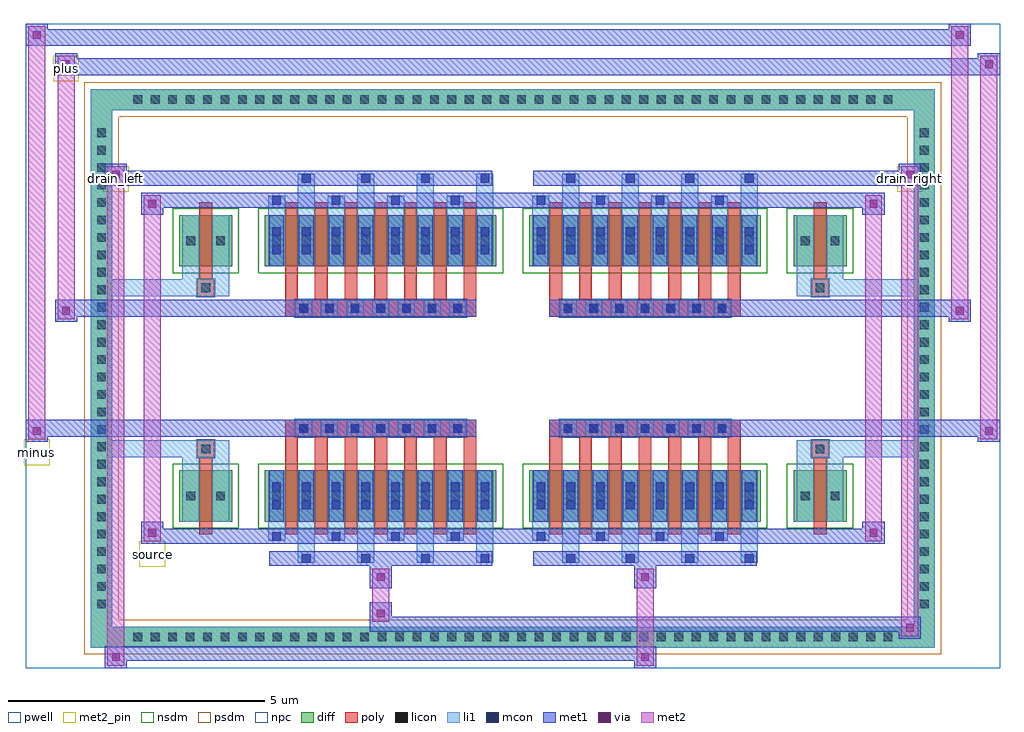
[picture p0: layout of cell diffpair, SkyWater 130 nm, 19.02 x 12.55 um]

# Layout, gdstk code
import gdstk
lib = gdstk.Library(unit=1e-6, precision=5e-09)
def R(c, l, rs):  # rectangles x0, y0, x1, y1
    for r in rs: c.add(gdstk.rectangle(r[:2], r[2:], *l))
def A(c, l, x, y, w, h, nx, ny, dx, dy):  # array of equal rectangles
    R(c, l, [(x+i*dx, y+j*dy, x+i*dx+w, y+j*dy+h) for i in range(nx) for j in range(ny)])
def P(c, l, *ps):  # polygons
    for p in ps: c.add(gdstk.Polygon(p, *l))
pwell = (64, 44)
diff = (65, 20)
poly = (66, 20)
licon = (66, 44)
li1 = (67, 20)
mcon = (67, 44)
met1 = (68, 20)
via = (68, 44)
met2_pin = (69, 16)
met2 = (69, 20)
nsdm = (93, 44)
psdm = (94, 20)
npc = (95, 20)

diffpair = lib.new_cell('diffpair')
R(diffpair, pwell, [(-9.49,-5.84,9.49,6.71), (-6.81,-4.03,-0.01,-0.805), (0.01,-4.03,6.81,-0.805), (-6.81,0.805,-0.01,4.03), (0.01,0.805,6.81,4.03)])
A(diffpair, diff, -7.515, -5.44, 0.41, 0.41, 44, 2, 0.34, 10.47)
A(diffpair, diff, -8.22, -4.795, 0.41, 0.41, 1, 28, 0, 0.34)
A(diffpair, diff, 7.81, -4.795, 0.41, 0.41, 1, 28, 0, 0.34)
R(diffpair, diff, [(-7.515,-5.44,7.515,-5.03), (-8.22,-4.795,-7.81,4.795), (7.81,-4.795,8.22,4.795), (-6.5,-2.985,-5.47,-1.985), (-4.83,-2.985,-0.32,-1.985), (0.32,-2.985,4.83,-1.985), (5.47,-2.985,6.5,-1.985), (-6.5,1.985,-5.47,2.985), (-4.83,1.985,-0.32,2.985), (0.32,1.985,4.83,2.985), (5.47,1.985,6.5,2.985), (-7.515,5.03,7.515,5.44)])
P(diffpair, diff, [(8.22,5.44),(-8.22,5.44),(-8.22,-5.03),(-7.81,-5.03),(-7.81,5.03),(7.81,5.03),(7.81,-5.03),(-7.81,-5.03),(-8.22,-5.03),(-8.22,-5.44),(8.22,-5.44)])
A(diffpair, poly, -4.44, -3.235, 0.25, 1.5, 7, 2, 0.58, 4.97)
A(diffpair, poly, 0.71, -3.235, 0.25, 1.5, 7, 2, 0.58, 4.97)
A(diffpair, poly, -4.44, -1.735, 0.25, 0.4, 7, 2, 0.58, 3.07)
A(diffpair, poly, 0.71, -1.735, 0.25, 0.4, 7, 2, 0.58, 3.07)
A(diffpair, poly, -4.24, -1.335, 0.33, 0.33, 7, 2, 0.5, 2.34)
A(diffpair, poly, 0.91, -1.335, 0.33, 0.33, 7, 2, 0.5, 2.34)
R(diffpair, poly, [(-6.11,-3.235,-5.86,-1.735), (5.86,-3.235,6.11,-1.735), (-6.15,-1.735,-5.82,-1.405), (-6.15,-1.735,-5.82,-1.405), (5.82,-1.735,6.15,-1.405), (5.82,-1.735,6.15,-1.405), (-4.44,-1.335,-0.71,-1.005), (0.71,-1.335,4.44,-1.005), (-4.44,1.005,-0.71,1.335), (0.71,1.005,4.44,1.335), (-6.15,1.405,-5.82,1.735), (-6.15,1.405,-5.82,1.735), (5.82,1.405,6.15,1.735), (5.82,1.405,6.15,1.735), (-6.11,1.735,-5.86,3.235), (5.86,1.735,6.11,3.235)])
A(diffpair, licon, -7.395, -5.32, 0.17, 0.17, 44, 2, 0.34, 10.47)
A(diffpair, licon, -8.1, -4.675, 0.17, 0.17, 1, 28, 0, 0.34)
A(diffpair, licon, 7.93, -4.675, 0.17, 0.17, 1, 28, 0, 0.34)
A(diffpair, licon, -4.69, -2.57, 0.17, 0.17, 8, 2, 0.58, 4.97)
A(diffpair, licon, 0.46, -2.57, 0.17, 0.17, 8, 2, 0.58, 4.97)
A(diffpair, licon, -4.16, -1.255, 0.17, 0.17, 7, 2, 0.5, 2.34)
A(diffpair, licon, 0.99, -1.255, 0.17, 0.17, 7, 2, 0.5, 2.34)
R(diffpair, licon, [(-6.36,-2.57,-6.19,-2.4), (-5.78,-2.57,-5.61,-2.4), (5.61,-2.57,5.78,-2.4), (6.19,-2.57,6.36,-2.4), (-6.07,-1.655,-5.9,-1.485), (5.9,-1.655,6.07,-1.485), (-6.07,1.485,-5.9,1.655), (5.9,1.485,6.07,1.655), (-6.36,2.4,-6.19,2.57), (-5.78,2.4,-5.61,2.57), (5.61,2.4,5.78,2.57), (6.19,2.4,6.36,2.57)])
A(diffpair, li1, -7.475, -5.4, 0.33, 0.33, 44, 2, 0.34, 10.47)
A(diffpair, li1, -8.18, -4.755, 0.33, 0.33, 1, 28, 0, 0.34)
A(diffpair, li1, 7.85, -4.755, 0.33, 0.33, 1, 28, 0, 0.34)
A(diffpair, li1, -4.19, -3.79, 0.33, 0.805, 4, 2, 1.16, 6.775)
A(diffpair, li1, -4.11, -3.79, 0.17, 0.17, 4, 2, 1.16, 7.41)
A(diffpair, li1, 0.96, -3.79, 0.33, 0.805, 4, 2, 1.16, 6.775)
A(diffpair, li1, 1.04, -3.79, 0.17, 0.17, 4, 2, 1.16, 7.41)
A(diffpair, li1, -4.77, -3.36, 0.33, 0.375, 4, 2, 1.16, 6.345)
A(diffpair, li1, -4.69, -3.36, 0.17, 0.17, 4, 2, 1.16, 6.55)
A(diffpair, li1, 0.38, -3.36, 0.33, 0.375, 4, 2, 1.16, 6.345)
A(diffpair, li1, 0.46, -3.36, 0.17, 0.17, 4, 2, 1.16, 6.55)
A(diffpair, li1, -4.77, -2.985, 0.33, 1, 8, 2, 0.58, 4.97)
A(diffpair, li1, 0.38, -2.985, 0.33, 1, 8, 2, 0.58, 4.97)
A(diffpair, li1, -4.69, -2.75, 0.17, 0.17, 8, 2, 0.58, 0.36)
A(diffpair, li1, -4.69, -2.75, 0.17, 0.53, 8, 2, 0.58, 4.97)
A(diffpair, li1, 0.46, -2.75, 0.17, 0.17, 8, 2, 0.58, 0.36)
A(diffpair, li1, 0.46, -2.75, 0.17, 0.53, 8, 2, 0.58, 4.97)
A(diffpair, li1, -4.77, -2.65, 0.33, 0.33, 8, 2, 0.58, 4.97)
A(diffpair, li1, 0.38, -2.65, 0.33, 0.33, 8, 2, 0.58, 4.97)
A(diffpair, li1, -4.24, -1.335, 0.33, 0.33, 7, 2, 0.5, 2.34)
A(diffpair, li1, 0.91, -1.335, 0.33, 0.33, 7, 2, 0.5, 2.34)
A(diffpair, li1, -4.69, 2.22, 0.17, 0.17, 8, 2, 0.58, 0.36)
A(diffpair, li1, 0.46, 2.22, 0.17, 0.17, 8, 2, 0.58, 0.36)
R(diffpair, li1, [(-8.22,-5.44,-7.81,-5.03), (-8.22,-5.44,-7.81,-5.03), (-7.81,-5.44,7.81,-5.03), (7.81,-5.44,8.22,-5.03), (7.81,-5.44,8.22,-5.03), (-8.22,-5.03,-7.81,5.03), (7.81,-5.03,8.22,5.03), (-6.44,-2.985,-6.11,-1.985), (-5.86,-2.985,-5.53,-1.985), (5.53,-2.985,5.86,-1.985), (6.11,-2.985,6.44,-1.985), (-6.44,-2.65,-6.11,-2.32), (-5.86,-2.65,-5.53,-2.32), (5.53,-2.65,5.86,-2.32), (6.11,-2.65,6.44,-2.32), (-6.44,-1.985,-6.11,-1.405), (-5.86,-1.985,-5.53,-1.405), (5.53,-1.985,5.86,-1.405), (6.11,-1.985,6.44,-1.405), (-8.22,-1.735,-6.15,-1.405), (-6.44,-1.735,-6.15,-1.405), (-6.15,-1.735,-5.82,-1.405), (-5.82,-1.735,-5.53,-1.405), (5.53,-1.735,5.82,-1.405), (5.82,-1.735,6.15,-1.405), (5.82,-1.735,8.22,-1.405), (6.15,-1.735,6.44,-1.405), (-8.22,1.405,-6.15,1.735), (-6.44,1.405,-6.15,1.735), (-6.44,1.405,-6.11,1.985), (-6.15,1.405,-5.82,1.735), (-5.86,1.405,-5.53,1.985), (-5.82,1.405,-5.53,1.735), (5.53,1.405,5.82,1.735), (5.53,1.405,5.86,1.985), (5.82,1.405,6.15,1.735), (5.82,1.405,8.22,1.735), (6.11,1.405,6.44,1.985), (6.15,1.405,6.44,1.735), (-6.44,1.985,-6.11,2.985), (-5.86,1.985,-5.53,2.985), (5.53,1.985,5.86,2.985), (6.11,1.985,6.44,2.985), (-6.44,2.32,-6.11,2.65), (-5.86,2.32,-5.53,2.65), (5.53,2.32,5.86,2.65), (6.11,2.32,6.44,2.65), (-8.22,5.03,-7.81,5.44), (-8.22,5.03,-7.81,5.44), (-7.81,5.03,7.81,5.44), (7.81,5.03,8.22,5.44), (7.81,5.03,8.22,5.44)])
A(diffpair, mcon, -4.11, -3.79, 0.17, 0.17, 4, 2, 1.16, 7.41)
A(diffpair, mcon, 1.04, -3.79, 0.17, 0.17, 4, 2, 1.16, 7.41)
A(diffpair, mcon, -4.69, -3.36, 0.17, 0.17, 4, 2, 1.16, 6.55)
A(diffpair, mcon, 0.46, -3.36, 0.17, 0.17, 4, 2, 1.16, 6.55)
A(diffpair, mcon, -4.69, -2.75, 0.17, 0.17, 8, 2, 0.58, 0.36)
A(diffpair, mcon, 0.46, -2.75, 0.17, 0.17, 8, 2, 0.58, 0.36)
A(diffpair, mcon, -4.16, -1.255, 0.17, 0.17, 7, 2, 0.5, 2.34)
A(diffpair, mcon, 0.99, -1.255, 0.17, 0.17, 7, 2, 0.5, 2.34)
A(diffpair, mcon, -4.69, 2.22, 0.17, 0.17, 8, 2, 0.58, 0.36)
A(diffpair, mcon, 0.46, 2.22, 0.17, 0.17, 8, 2, 0.58, 0.36)
A(diffpair, met1, -4.17, -3.85, 0.29, 0.29, 4, 2, 1.16, 7.41)
A(diffpair, met1, 0.98, -3.85, 0.29, 0.29, 4, 2, 1.16, 7.41)
A(diffpair, met1, -4.75, -3.42, 0.29, 0.29, 4, 2, 1.16, 6.55)
A(diffpair, met1, 0.4, -3.42, 0.29, 0.29, 4, 2, 1.16, 6.55)
A(diffpair, met1, -4.75, -2.985, 0.29, 1, 8, 2, 0.58, 4.97)
A(diffpair, met1, 0.4, -2.985, 0.29, 1, 8, 2, 0.58, 4.97)
A(diffpair, met1, -4.75, -2.81, 0.29, 0.29, 8, 2, 0.58, 0.36)
A(diffpair, met1, 0.4, -2.81, 0.29, 0.29, 8, 2, 0.58, 0.36)
A(diffpair, met1, -4.22, -1.315, 0.29, 0.29, 7, 2, 0.5, 2.34)
A(diffpair, met1, 0.93, -1.315, 0.29, 0.29, 7, 2, 0.5, 2.34)
A(diffpair, met1, -4.75, 2.16, 0.29, 0.29, 8, 2, 0.58, 0.36)
A(diffpair, met1, 0.4, 2.16, 0.29, 0.29, 8, 2, 0.58, 0.36)
R(diffpair, met1, [(-7.95,-5.84,-7.52,-5.41), (2.36,-5.84,2.79,-5.41), (-7.95,-5.7,2.79,-5.41), (7.52,-5.27,7.95,-4.84), (-2.79,-5.13,7.95,-4.84), (-2.79,-4.99,-2.36,-4.56), (-2.79,-4.28,-2.36,-3.85), (2.36,-4.28,2.79,-3.85), (-4.75,-3.85,-0.4,-3.56), (0.4,-3.85,4.75,-3.56), (-7.24,-3.42,-6.81,-2.99), (-7.24,-3.42,-4.75,-3.13), (-4.75,-3.42,-0.4,-3.13), (-0.4,-3.42,0.4,-3.13), (0.4,-3.42,4.75,-3.13), (4.75,-3.42,7.24,-3.13), (6.81,-3.42,7.24,-2.99), (-9.49,-1.435,-9.06,-1.005), (9.06,-1.435,9.49,-1.005), (-9.49,-1.335,-0.71,-1.005), (-4.44,-1.335,-0.71,-1.005), (0.71,-1.335,4.44,-1.005), (0.71,-1.335,9.49,-1.005), (-8.92,0.905,-8.49,1.335), (8.49,0.905,8.92,1.335), (-8.92,1.005,-4.44,1.335), (-4.44,1.005,-0.71,1.335), (0.71,1.005,4.44,1.335), (4.44,1.005,8.92,1.335), (-7.24,2.99,-6.81,3.42), (6.81,2.99,7.24,3.42), (-7.24,3.13,-4.75,3.42), (-4.75,3.13,-0.4,3.42), (-0.4,3.13,0.4,3.42), (0.4,3.13,4.75,3.42), (4.75,3.13,7.24,3.42), (-7.95,3.56,-7.52,3.99), (-7.95,3.56,-4.75,3.85), (-4.75,3.56,-0.4,3.85), (0.4,3.56,4.75,3.85), (4.75,3.56,7.95,3.85), (7.52,3.56,7.95,3.99), (-8.92,5.71,-8.49,6.14), (-8.92,5.71,-6.81,6.04), (-6.81,5.71,6.81,6.04), (6.81,5.71,9.49,6.04), (9.06,5.71,9.49,6.14), (-9.49,6.28,-9.06,6.71), (-9.49,6.28,-6.81,6.61), (-6.81,6.28,6.81,6.61), (6.81,6.28,8.92,6.61), (8.49,6.28,8.92,6.71)])
R(diffpair, via, [(-7.81,-5.7,-7.66,-5.55), (2.5,-5.7,2.65,-5.55), (7.66,-5.13,7.81,-4.98), (-2.65,-4.85,-2.5,-4.7), (-2.65,-4.14,-2.5,-3.99), (2.5,-4.14,2.65,-3.99), (-7.1,-3.28,-6.95,-3.13), (6.95,-3.28,7.1,-3.13), (-9.35,-1.295,-9.2,-1.145), (9.2,-1.295,9.35,-1.145), (-8.78,1.045,-8.63,1.195), (8.63,1.045,8.78,1.195), (-7.1,3.13,-6.95,3.28), (6.95,3.13,7.1,3.28), (-7.81,3.7,-7.66,3.85), (7.66,3.7,7.81,3.85), (-8.78,5.85,-8.63,6), (9.2,5.85,9.35,6), (-9.35,6.42,-9.2,6.57), (8.63,6.42,8.78,6.57)])
R(diffpair, met2_pin, [(-7.275,-3.87,-6.775,-3.37), (-9.525,-1.885,-9.025,-1.385), (-7.985,3.44,-7.485,3.94), (7.485,3.44,7.985,3.94), (-8.955,5.59,-8.455,6.09)])
R(diffpair, met2, [(-7.9,-5.79,-7.57,-5.46), (-7.9,-5.79,-7.57,3.94), (2.41,-5.79,2.74,-5.46), (2.41,-5.46,2.74,-4.23), (7.57,-5.22,7.9,-4.89), (7.57,-5.22,7.9,3.94), (-2.74,-4.94,-2.41,-4.61), (-2.74,-4.61,-2.41,-4.23), (-2.74,-4.23,-2.41,-3.9), (2.41,-4.23,2.74,-3.9), (-7.19,-3.37,-6.86,-3.04), (-7.19,-3.37,-6.86,3.37), (6.86,-3.37,7.19,-3.04), (6.86,-3.37,7.19,3.37), (-9.44,-1.385,-9.11,-1.055), (-9.44,-1.385,-9.11,6.66), (9.11,-1.385,9.44,-1.055), (9.11,-1.385,9.44,6.09), (-8.87,0.955,-8.54,1.285), (-8.87,0.955,-8.54,6.09), (8.54,0.955,8.87,1.285), (8.54,0.955,8.87,6.66), (-7.19,3.04,-6.86,3.37), (6.86,3.04,7.19,3.37), (-7.9,3.61,-7.57,3.94), (7.57,3.61,7.9,3.94), (-8.87,5.76,-8.54,6.09), (9.11,5.76,9.44,6.09), (-9.44,6.33,-9.11,6.66), (8.54,6.33,8.87,6.66)])
P(diffpair, met2, [(9.44,-1.385),(9.44,-1.385),(9.44,-1.055),(9.44,-1.055)],
  [(9.44,5.76),(9.44,5.76),(9.44,6.09),(9.44,6.09)],
  [(-9.11,-1.385),(-9.11,-1.385),(-9.11,-1.055),(-9.11,-1.055)],
  [(-9.11,6.33),(-9.11,6.33),(-9.11,6.66),(-9.11,6.66)],
  [(8.87,0.955),(8.87,0.955),(8.87,1.285),(8.87,1.285)],
  [(8.87,6.33),(8.87,6.33),(8.87,6.66),(8.87,6.66)],
  [(-8.54,0.955),(-8.54,0.955),(-8.54,1.285),(-8.54,1.285)],
  [(-8.54,5.76),(-8.54,5.76),(-8.54,6.09),(-8.54,6.09)],
  [(-7.57,-5.79),(-7.57,-5.79),(-7.57,-5.46),(-7.57,-5.46)],
  [(-7.57,3.61),(-7.57,3.61),(-7.57,3.94),(-7.57,3.94)],
  [(7.9,-5.22),(7.9,-5.22),(7.9,-4.89),(7.9,-4.89)],
  [(7.9,3.61),(7.9,3.61),(7.9,3.94),(7.9,3.94)],
  [(-6.86,-3.37),(-6.86,-3.37),(-6.86,-3.04),(-6.86,-3.04)],
  [(-6.86,3.04),(-6.86,3.04),(-6.86,3.37),(-6.86,3.37)],
  [(7.19,-3.37),(7.19,-3.37),(7.19,-3.04),(7.19,-3.04)],
  [(7.19,3.04),(7.19,3.04),(7.19,3.37),(7.19,3.37)])
R(diffpair, nsdm, [(-6.63,-3.115,-5.34,-1.855), (-4.96,-3.115,-0.19,-1.855), (0.19,-3.115,4.96,-1.855), (5.34,-3.115,6.63,-1.855), (-6.63,1.855,-5.34,3.115), (-4.96,1.855,-0.19,3.115), (0.19,1.855,4.96,3.115), (5.34,1.855,6.63,3.115)])
P(diffpair, psdm, [(8.35,5.57),(-8.35,5.57),(-8.35,-4.9),(-7.68,-4.9),(-7.68,4.9),(7.68,4.9),(7.68,-4.9),(-7.68,-4.9),(-8.35,-4.9),(-8.35,-5.57),(8.35,-5.57)])
A(diffpair, npc, -4.26, -1.355, 0.37, 0.37, 7, 2, 0.5, 2.34)
A(diffpair, npc, 0.89, -1.355, 0.37, 0.37, 7, 2, 0.5, 2.34)
R(diffpair, npc, [(-6.17,-1.755,-5.8,-1.385), (5.8,-1.755,6.17,-1.385), (-4.26,-1.355,-3.39,-0.985), (-4.26,-1.355,-3.39,-0.985), (-3.76,-1.355,-2.89,-0.985), (-3.76,-1.355,-2.89,-0.985), (-3.26,-1.355,-2.39,-0.985), (-3.26,-1.355,-2.39,-0.985), (-2.76,-1.355,-1.89,-0.985), (-2.76,-1.355,-1.89,-0.985), (-2.26,-1.355,-1.39,-0.985), (-2.26,-1.355,-1.39,-0.985), (-1.76,-1.355,-0.89,-0.985), (-1.76,-1.355,-0.89,-0.985), (0.89,-1.355,1.76,-0.985), (0.89,-1.355,1.76,-0.985), (1.39,-1.355,2.26,-0.985), (1.39,-1.355,2.26,-0.985), (1.89,-1.355,2.76,-0.985), (1.89,-1.355,2.76,-0.985), (2.39,-1.355,3.26,-0.985), (2.39,-1.355,3.26,-0.985), (2.89,-1.355,3.76,-0.985), (2.89,-1.355,3.76,-0.985), (3.39,-1.355,4.26,-0.985), (3.39,-1.355,4.26,-0.985), (-4.26,0.985,-3.39,1.355), (-4.26,0.985,-3.39,1.355), (-3.76,0.985,-2.89,1.355), (-3.76,0.985,-2.89,1.355), (-3.26,0.985,-2.39,1.355), (-3.26,0.985,-2.39,1.355), (-2.76,0.985,-1.89,1.355), (-2.76,0.985,-1.89,1.355), (-2.26,0.985,-1.39,1.355), (-2.26,0.985,-1.39,1.355), (-1.76,0.985,-0.89,1.355), (-1.76,0.985,-0.89,1.355), (0.89,0.985,1.76,1.355), (0.89,0.985,1.76,1.355), (1.39,0.985,2.26,1.355), (1.39,0.985,2.26,1.355), (1.89,0.985,2.76,1.355), (1.89,0.985,2.76,1.355), (2.39,0.985,3.26,1.355), (2.39,0.985,3.26,1.355), (2.89,0.985,3.76,1.355), (2.89,0.985,3.76,1.355), (3.39,0.985,4.26,1.355), (3.39,0.985,4.26,1.355), (-6.17,1.385,-5.8,1.755), (5.8,1.385,6.17,1.755)])
diffpair.add(gdstk.Label('minus', (-9.275,-1.635), layer=69, texttype=5))
diffpair.add(gdstk.Label('drain_right', (7.735,3.69), layer=69, texttype=5))
diffpair.add(gdstk.Label('drain_left', (-7.735,3.69), layer=69, texttype=5))
diffpair.add(gdstk.Label('source', (-7.025,-3.62), layer=69, texttype=5))
diffpair.add(gdstk.Label('plus', (-8.705,5.84), layer=69, texttype=5))

lib.write_gds('diffpair.gds')
